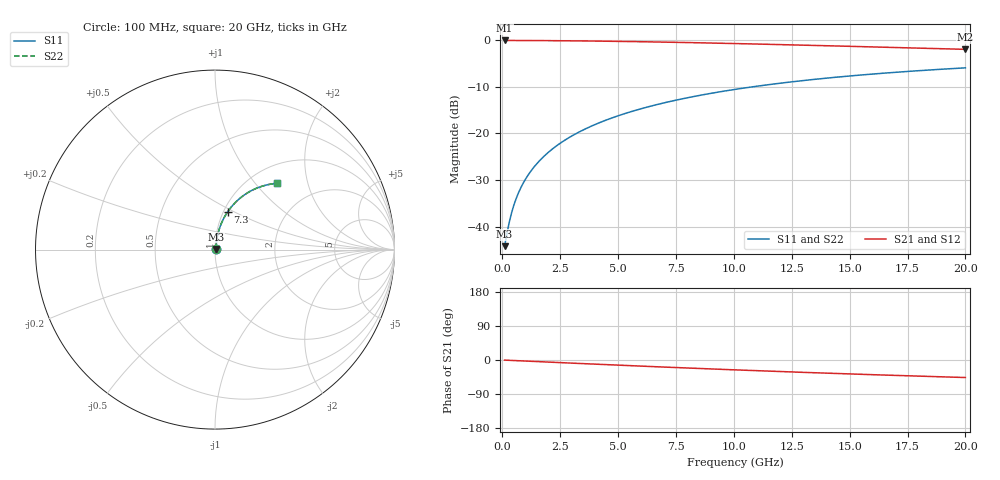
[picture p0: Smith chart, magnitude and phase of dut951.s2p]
! Touchstone file exported from HFSS 2024.1.0
!  File:  C:/UserFiles/LocalFiles/RDL_TSV_Batchsim/temp_RDL_bottom_951_1779942237.aedt
!  Generated:  12:26:21 PM May 28, 2026
!  Design:  RDL_bottom
!  Project:  temp_RDL_bottom_951_1779942237
!  Setup:  Setup1
!  Solution:  Sweep
! Variables:
!  dtsv = 10.80580581um
!  hbump = 3um
!  htsv = 85.24um
!  ldown = 605.55um
!  lrdl = 100um
!  p = 40
!  p1 = 48.68um
!  rhole = 1um
!  t = 450um
!  tdown = 3.46um
!  trdl = 3.915915916um
!  wdown = 11.95um
!  wrdl = 20um
# GHz S MA R 50.000000
! Terminal data exported
! Port[1] = RDL1_T1
! Port[2] = RDL1_T2
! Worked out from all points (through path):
!   200 points, 100 MHz to 20 GHz, reference 50 ohm
!   highest |S21| = -0.05 dB at 100 MHz (marker M1); lowest = -2.0 dB at 20 GHz (marker M2)
!   group delay of S21, straight-line fit = 6.43 ps
!   lowest |S11| = -44.2 dB at 100 MHz (marker M3), VSWR 1.01, Z = 50.5 + j0.328 ohm
!   |S11| at or under -10 dB: start of sweep to 10.8 GHz
!   |S22| runs from -44.2 to -5.9 dB; largest |S21 - S12| = 2.5e-15
!   S11 on the Smith chart (normalised r, x): 100 MHz: 1.01, +0.01; 7.3 GHz: 1.05, +0.46; 20 GHz: 1.32, +1.31
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0.1  0.006162 31.8  0.9948 -0.3  0.9948 -0.3  0.006162 31.8
! Gamma 0 0 0 0
! Port Impedance 50 0 50 0
0.2  0.008388 50.5  0.9947 -0.6  0.9947 -0.6  0.008388 50.5
0.3  0.01111 60.4  0.9945 -0.9  0.9945 -0.9  0.01111 60.4
0.4  0.01402 66.2  0.9944 -1.1  0.9944 -1.1  0.01402 66.2
0.5  0.01701 69.8  0.9942 -1.4  0.9942 -1.4  0.01701 69.8
0.6  0.02002 72.3  0.994 -1.7  0.994 -1.7  0.02002 72.3
0.8  0.0261 75.4  0.9937 -2.2  0.9937 -2.2  0.0261 75.4
1.1  0.03528 77.9  0.993 -3.1  0.993 -3.1  0.03528 77.9
1.5  0.04758 79.3  0.992 -4.2  0.992 -4.2  0.04758 79.3
1.8  0.05683 79.7  0.9911 -5.0  0.9911 -5.0  0.05683 79.7
2.1  0.06609 79.9  0.99 -5.8  0.99 -5.8  0.06608 79.9
2.7  0.08458 79.6  0.9875 -7.4  0.9875 -7.4  0.08458 79.6
3.5  0.1091 78.7  0.9832 -9.6  0.9832 -9.6  0.1091 78.7
4.2  0.1304 77.5  0.9787 -11.5  0.9787 -11.5  0.1304 77.5
5  0.1545 76.1  0.9728 -13.6  0.9728 -13.6  0.1545 76.1
6.8  0.2075 72.5  0.9569 -18.2  0.9569 -18.2  0.2075 72.5
7.3  0.2218 71.5  0.952 -19.4  0.952 -19.4  0.2218 71.5
8.6  0.2581 68.8  0.9382 -22.6  0.9382 -22.6  0.2581 68.8
10.1  0.2982 65.7  0.9211 -26.2  0.9211 -26.2  0.2981 65.7
13.4  0.3786 59.0  0.8808 -33.5  0.8808 -33.5  0.3785 59.0
16.7  0.4476 52.7  0.8392 -40.2  0.8392 -40.2  0.4475 52.7
20  0.5054 46.9  0.7986 -46.2  0.7986 -46.2  0.5053 46.9
